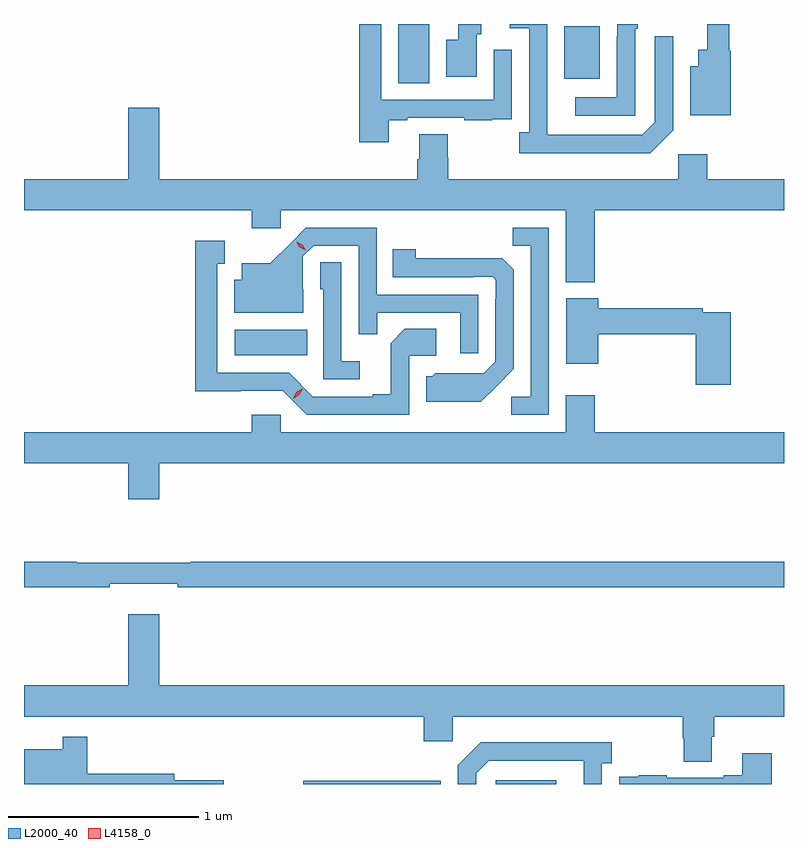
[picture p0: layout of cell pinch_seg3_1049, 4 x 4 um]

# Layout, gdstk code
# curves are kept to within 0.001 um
import gdstk
lib = gdstk.Library(unit=1e-6, precision=1e-09)
def R(c, l, rs):  # rectangles x0, y0, x1, y1
    for r in rs: c.add(gdstk.rectangle(r[:2], r[2:], *l))
def P(c, l, *ps):  # polygons
    for p in ps: c.add(gdstk.Polygon(p, *l))
L2000_40 = (2000, 40)
L4158_0 = (4158, 0)

pinch_seg3_1049 = lib.new_cell('pinch_seg3_1049')
R(pinch_seg3_1049, L2000_40, [(333.761,708.553,334.486,708.571), (334.776,708.553,335.092,708.573), (333.402,710.81,333.782,710.944), (334.262,712.24,334.426,712.553), (335.135,712.265,335.323,712.54)])
P(pinch_seg3_1049, L2000_40, [(334.675,712.5),(334.699,712.5),(334.699,712.553),(334.577,712.553),(334.577,712.471),(334.514,712.471),(334.514,712.275),(334.675,712.275)],
  [(335.508,712.529),(335.523,712.529),(335.523,712.553),(335.415,712.553),(335.415,712.487),(335.412,712.487),(335.412,712.167),(335.193,712.167),(335.193,712.071),(335.508,712.071)],
  [(336.011,712.413),(336.005,712.413),(336.005,712.553),(335.888,712.553),(335.888,712.417),(335.84,712.417),(335.84,712.33),(335.798,712.33),(335.798,712.073),(336.011,712.073)],
  [(335.709,711.993),(335.709,712.489),(335.613,712.489),(335.613,712.035),(335.547,711.969),(335.047,711.969),(335.046,712.553),(334.848,712.553),(334.848,712.53),(334.95,712.53),(334.95,711.982),(334.899,711.982),(334.899,711.872),(335.588,711.872)],
  [(334.213,712.047),(334.309,712.047),(334.309,712.059),(334.609,712.059),(334.609,712.047),(334.757,712.047),(334.757,712.053),(334.859,712.053),(334.859,712.162),(334.86,712.162),(334.86,712.417),(334.764,712.417),(334.764,712.155),(334.173,712.155),(334.173,712.553),(334.057,712.553),(334.057,711.93),(334.213,711.93)],
  [(335.297,711.572),(336.292,711.572),(336.292,711.736),(335.888,711.736),(335.888,711.868),(335.736,711.868),(335.736,711.736),(334.526,711.736),(334.526,711.849),(334.521,711.849),(334.521,711.974),(334.373,711.974),(334.373,711.842),(334.361,711.842),(334.361,711.736),(333.004,711.736),(333.004,712.111),(332.84,712.111),(332.84,711.736),(332.292,711.736),(332.292,711.572),(333.491,711.572),(333.491,711.477),(333.642,711.477),(333.642,711.572),(335.144,711.572),(335.144,711.194),(335.297,711.194)],
  [(334.683,711.129),(334.149,711.129),(334.149,711.48),(333.776,711.48),(333.589,711.295),(333.437,711.295),(333.437,711.208),(333.398,711.208),(333.398,711.032),(333.763,711.032),(333.763,711.156),(333.759,711.156),(333.759,711.33),(333.816,711.387),(334.053,711.387),(334.053,710.92),(334.151,710.92),(334.151,711.033),(334.587,711.033),(334.587,710.82),(334.683,710.82)],
  [(335.055,711.48),(334.864,711.48),(334.864,711.385),(334.959,711.385),(334.959,710.592),(334.857,710.592),(334.857,710.496),(335.055,710.496)],
  [(334.32,710.808),(334.462,710.808),(334.462,710.948),(334.297,710.948),(334.221,710.872),(334.221,710.605),(334.127,710.605),(334.127,710.592),(333.813,710.592),(333.687,710.718),(333.31,710.718),(333.31,711.291),(333.349,711.291),(333.349,711.412),(333.192,711.412),(333.192,710.621),(333.654,710.622),(333.78,710.496),(334.32,710.496)],
  [(334.777,710.645),(334.869,710.738),(334.869,711.26),(334.81,711.319),(334.353,711.32),(334.353,711.367),(334.234,711.367),(334.234,711.219),(334.658,711.219),(334.658,711.222),(334.758,711.222),(334.776,711.204),(334.776,711.104),(334.773,711.104),(334.773,710.775),(334.713,710.715),(334.456,710.716),(334.44,710.7),(334.409,710.7),(334.409,710.564),(334.697,710.564)],
  [(334.06,710.779),(333.963,710.779),(333.963,711.299),(333.852,711.299),(333.852,711.156),(333.867,711.156),(333.867,710.682),(334.06,710.682)],
  [(336.011,711.036),(335.864,711.036),(335.864,711.056),(335.314,711.056),(335.314,711.109),(335.147,711.109),(335.147,710.766),(335.314,710.766),(335.314,710.92),(335.828,710.92),(335.828,710.655),(336.011,710.655)],
  [(333.004,710.24),(336.292,710.24),(336.292,710.404),(335.297,710.404),(335.297,710.599),(335.144,710.599),(335.144,710.404),(333.642,710.404),(333.642,710.497),(333.491,710.497),(333.491,710.404),(332.292,710.404),(332.292,710.24),(332.84,710.24),(332.84,710.052),(333.004,710.052)],
  [(332.744,709.607),(333.1,709.607),(333.1,709.588),(336.292,709.588),(336.292,709.724),(333.17,709.724),(333.17,709.717),(332.57,709.717),(332.57,709.724),(332.292,709.724),(332.292,709.588),(332.744,709.588)],
  [(335.911,708.802),(335.924,708.802),(335.924,708.908),(336.292,708.908),(336.292,709.072),(333.004,709.072),(333.004,709.447),(332.84,709.447),(332.84,709.072),(332.292,709.072),(332.292,708.908),(334.397,708.908),(334.397,708.777),(334.548,708.777),(334.548,708.908),(335.759,708.908),(335.759,708.795),(335.764,708.795),(335.764,708.67),(335.911,708.67)],
  [(333.343,708.573),(333.082,708.573),(333.082,708.607),(332.624,708.607),(332.624,708.802),(332.496,708.802),(332.496,708.736),(332.292,708.736),(332.292,708.553),(333.343,708.553)],
  [(334.671,708.609),(334.737,708.675),(335.237,708.675),(335.237,708.553),(335.334,708.553),(335.334,708.662),(335.386,708.662),(335.386,708.772),(334.696,708.772),(334.575,708.651),(334.575,708.553),(334.671,708.553)],
  [(336.227,708.715),(336.071,708.715),(336.071,708.598),(335.975,708.598),(335.975,708.585),(335.675,708.585),(335.675,708.598),(335.527,708.598),(335.527,708.591),(335.425,708.591),(335.425,708.553),(336.227,708.553)])
P(pinch_seg3_1049, L4158_0, [(333.774,711.362),(333.744,711.377),(333.726,711.406),(333.726,711.406),(333.726,711.406),(333.757,711.392),(333.774,711.362),(333.774,711.362)],
  [(333.709,710.581),(333.709,710.582),(333.726,710.614),(333.757,710.634),(333.758,710.634),(333.758,710.634),(333.741,710.601),(333.71,710.581)])

lib.write_gds('pinch_seg3_1049.gds')
